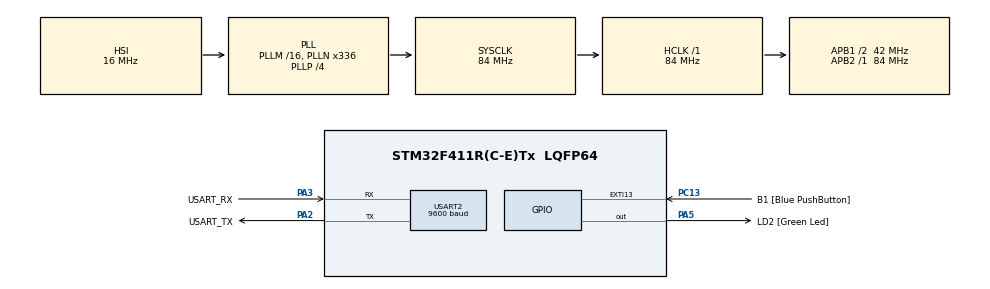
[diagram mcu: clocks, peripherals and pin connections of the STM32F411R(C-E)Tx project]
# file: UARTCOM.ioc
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Mcu.Family=STM32F4
Mcu.Name=STM32F411R(C-E)Tx
Mcu.Package=LQFP64
NVIC.PriorityGroup=NVIC_PRIORITYGROUP_0
NVIC.USART2_IRQn=true\:0\:0\:false\:false\:true\:true\:true\:true
PA13.GPIO_Label=TMS
PA13.Mode=Serial_Wire
PA13.Signal=SYS_JTMS-SWDIO
PA14.GPIO_Label=TCK
PA14.Mode=Serial_Wire
PA14.Signal=SYS_JTCK-SWCLK
PA2.GPIO_Label=USART_TX
PA2.Mode=Asynchronous
PA2.Signal=USART2_TX
PA3.GPIO_Label=USART_RX
PA3.Mode=Asynchronous
PA3.Signal=USART2_RX
PA5.GPIO_Label=LD2 [Green Led]
PA5.Signal=GPIO_Output
PB3.GPIO_Label=SWO
PB3.Signal=SYS_JTDO-SWO
PC13-ANTI_TAMP.GPIO_Label=B1 [Blue PushButton]
PC13-ANTI_TAMP.GPIO_ModeDefaultEXTI=GPIO_MODE_IT_FALLING
PC13-ANTI_TAMP.Signal=GPXTI13
PC14-OSC32_IN.Mode=LSE-External-Oscillator
PC14-OSC32_IN.Signal=RCC_OSC32_IN
PC15-OSC32_OUT.Mode=LSE-External-Oscillator
PC15-OSC32_OUT.Signal=RCC_OSC32_OUT
PH0\ -\ OSC_IN.Mode=HSE-External-Clock-Source
PH0\ -\ OSC_IN.Signal=RCC_OSC_IN
PH1\ -\ OSC_OUT.Mode=HSE-External-Clock-Source
PH1\ -\ OSC_OUT.Signal=RCC_OSC_OUT
ProjectManager.HeapSize=0x200
ProjectManager.StackSize=0x400
ProjectManager.TargetToolchain=STM32CubeIDE
RCC.48MHZClocksFreq_Value=84000000
RCC.AHBFreq_Value=84000000
RCC.APB1CLKDivider=RCC_HCLK_DIV2
RCC.APB1Freq_Value=42000000
RCC.APB1TimFreq_Value=84000000
RCC.APB2Freq_Value=84000000
RCC.APB2TimFreq_Value=84000000
RCC.CortexFreq_Value=84000000
RCC.FLatency-AdvancedSettings=FLASH_LATENCY_2
RCC.HCLKFreq_Value=84000000
RCC.HSE_VALUE=8000000
RCC.HSI_VALUE=16000000
RCC.PLLN=336
RCC.PLLP=RCC_PLLP_DIV4
RCC.SYSCLKFreq_VALUE=84000000
RCC.SYSCLKSource=RCC_SYSCLKSOURCE_PLLCLK
RCC.VCOOutputFreq_Value=336000000
USART2.BaudRate=9600
USART2.StopBits=STOPBITS_2
USART2.VirtualMode=VM_ASYNC
board=NUCLEO-F411RE

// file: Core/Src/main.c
/* USER CODE BEGIN Header */
/**
 ******************************************************************************
 * @file           : main.c
 * @brief          : Main program body
 ******************************************************************************
 * @attention
 *
 * Copyright (c) 2023 STMicroelectronics.
 * All rights reserved.
 *
 * This software is licensed under terms that can be found in the LICENSE file
 * in the root directory of this software component.
 * If no LICENSE file comes with this software, it is provided AS-IS.
 *
 ******************************************************************************
 */
/* USER CODE END Header */
#include "main.h"

/* USER CODE BEGIN Includes */
#include "stdio.h"
#include "string.h"
/* USER CODE END Includes */

UART_HandleTypeDef huart2;

/* USER CODE BEGIN PV */
uint8_t RxBuffer[2];
uint8_t TxBuffer[10];
uint8_t Power = 0;
uint8_t Button_State[2];
uint8_t number = 112;
uint16_t Hz = 1;
uint8_t LED_State = 1;
uint8_t textbox[100];
uint16_t Period;
/* USER CODE END PV */

void SystemClock_Config(void);
static void MX_GPIO_Init(void);
static void MX_USART2_UART_Init(void);
/* USER CODE BEGIN PFP */
void UIsend(uint8_t text[]);
void Function_Selector();
void LED_Hz();
void Button_State_Check();
/* USER CODE END PFP */

int main(void) {

	/* MCU Configuration--------------------------------------------------------*/

	/* Reset of all peripherals, Initializes the Flash interface and the Systick. */
	HAL_Init();

	/* Configure the system clock */
	SystemClock_Config();

	/* Initialize all configured peripherals */
	MX_GPIO_Init();
	MX_USART2_UART_Init();

	/* Infinite loop */
	/* USER CODE BEGIN WHILE */
	while (1) {
		UARTInterruptConfig();
		if (Power == 1) {
			Function_Selector();
		}

		LED_Hz(LED_State); //DEBUG LOGIC CH1 TX | RX CH0
		/* USER CODE END WHILE */

	}
}

void SystemClock_Config(void) {
	RCC_OscInitTypeDef RCC_OscInitStruct = { 0 };
	RCC_ClkInitTypeDef RCC_ClkInitStruct = { 0 };

	/** Configure the main internal regulator output voltage
	 */
	__HAL_RCC_PWR_CLK_ENABLE();
	__HAL_PWR_VOLTAGESCALING_CONFIG(PWR_REGULATOR_VOLTAGE_SCALE1);

	/** Initializes the RCC Oscillators according to the specified parameters
	 * in the RCC_OscInitTypeDef structure.
	 */
	RCC_OscInitStruct.OscillatorType = RCC_OSCILLATORTYPE_HSI;
	RCC_OscInitStruct.HSIState = RCC_HSI_ON;
	RCC_OscInitStruct.HSICalibrationValue = RCC_HSICALIBRATION_DEFAULT;
	RCC_OscInitStruct.PLL.PLLState = RCC_PLL_ON;
	RCC_OscInitStruct.PLL.PLLSource = RCC_PLLSOURCE_HSI;
	RCC_OscInitStruct.PLL.PLLM = 16;
	RCC_OscInitStruct.PLL.PLLN = 336;
	RCC_OscInitStruct.PLL.PLLP = RCC_PLLP_DIV4;
	RCC_OscInitStruct.PLL.PLLQ = 4;
	if (HAL_RCC_OscConfig(&RCC_OscInitStruct) != HAL_OK) {
		Error_Handler();
	}

	/** Initializes the CPU, AHB and APB buses clocks
	 */
	RCC_ClkInitStruct.ClockType = RCC_CLOCKTYPE_HCLK | RCC_CLOCKTYPE_SYSCLK
			| RCC_CLOCKTYPE_PCLK1 | RCC_CLOCKTYPE_PCLK2;
	RCC_ClkInitStruct.SYSCLKSource = RCC_SYSCLKSOURCE_PLLCLK;
	RCC_ClkInitStruct.AHBCLKDivider = RCC_SYSCLK_DIV1;
	RCC_ClkInitStruct.APB1CLKDivider = RCC_HCLK_DIV2;
	RCC_ClkInitStruct.APB2CLKDivider = RCC_HCLK_DIV1;

	if (HAL_RCC_ClockConfig(&RCC_ClkInitStruct, FLASH_LATENCY_2) != HAL_OK) {
		Error_Handler();
	}
}

static void MX_USART2_UART_Init(void) {

	huart2.Instance = USART2;
	huart2.Init.BaudRate = 9600;
	huart2.Init.WordLength = UART_WORDLENGTH_8B;
	huart2.Init.StopBits = UART_STOPBITS_2;
	huart2.Init.Parity = UART_PARITY_NONE;
	huart2.Init.Mode = UART_MODE_TX_RX;
	huart2.Init.HwFlowCtl = UART_HWCONTROL_NONE;
	huart2.Init.OverSampling = UART_OVERSAMPLING_16;
	if (HAL_UART_Init(&huart2) != HAL_OK) {
		Error_Handler();
	}

}

static void MX_GPIO_Init(void) {
	GPIO_InitTypeDef GPIO_InitStruct = { 0 };

	/* GPIO Ports Clock Enable */
	__HAL_RCC_GPIOC_CLK_ENABLE();
	__HAL_RCC_GPIOH_CLK_ENABLE();
	__HAL_RCC_GPIOA_CLK_ENABLE();
	__HAL_RCC_GPIOB_CLK_ENABLE();

	/*Configure GPIO pin Output Level */
	HAL_GPIO_WritePin(LD2_GPIO_Port, LD2_Pin, GPIO_PIN_RESET);

	/*Configure GPIO pin : B1_Pin */
	GPIO_InitStruct.Pin = B1_Pin;
	GPIO_InitStruct.Mode = GPIO_MODE_IT_FALLING;
	GPIO_InitStruct.Pull = GPIO_NOPULL;
	HAL_GPIO_Init(B1_GPIO_Port, &GPIO_InitStruct);

	/*Configure GPIO pin : LD2_Pin */
	GPIO_InitStruct.Pin = LD2_Pin;
	GPIO_InitStruct.Mode = GPIO_MODE_OUTPUT_PP;
	GPIO_InitStruct.Pull = GPIO_NOPULL;
	GPIO_InitStruct.Speed = GPIO_SPEED_FREQ_LOW;
	HAL_GPIO_Init(LD2_GPIO_Port, &GPIO_InitStruct);

}

/* USER CODE BEGIN 4 */
void UIsend(uint8_t text[100]) {
	// sprintf((char*)text,"-------------Welcome USer---------------- \r\n");
	HAL_UART_Transmit(&huart2, text, strlen((char*) text), 100);
}

void Function_Selector() {
	Power = 0;
	switch (number) { //menu selector
	case 112:
		UIsend("\r\nFunction Select\r\n***************************\r\n");
		UIsend("0 : LED Control\r\n");
		UIsend("1 : Button_State Status\r\n***************************\r\n");
		number = 113;
		break;
	case 113:
		if (RxBuffer[0] == 48) //ascii 0
				{
			UIsend("LED Control Mode\r\n*********************\r\n");
			UIsend("a : Speed Up +1Hz\r\n");
			UIsend("s : Speed Down -1Hz\r\n");
			UIsend("d : On/Off\r\n");
			UIsend("x : back\r\n");
			number = 0;
		} else if (RxBuffer[0] == 49) { //ascii 1
			UIsend("x : back\r\n");
			UIsend("Button_State Status Mode\r\n");
			Power = 1;
			number = 1;
		}
		break;

	case 0: //LED
		if (RxBuffer[0] == 97) { //a
			Hz++;
		}

		else if (RxBuffer[0] == 115 && Hz > 1) { //s
			Hz--;
		} else if (RxBuffer[0] == 100) { //d
			if ((LED_State + 1) == 1)
				LED_State = 1;
			else
				LED_State = 0;
		}

		else if (RxBuffer[0] == 120) { //x home
			Power = 1;
			number = 112;
		}

		if (LED_State) {
			sprintf((char*) textbox, "Hz : %d\r\n", Hz);
			UIsend("LED ON\r\n");
			UIsend(textbox);
		} else {
			UIsend("LED OFF\r\n");
		}

		break;
	case 1: //Button
		Power = 1;
		if (RxBuffer[0] == 120) //x
			number = 112;
		Button_State_Check();
		break;
	}
}

void LED_Hz( LED_State) {
	if (LED_State) {
		static uint32_t timestamp = 0;
		Period = (1000 / Hz) / 2;
		if (HAL_GetTick() >= timestamp) {
			timestamp = HAL_GetTick() + Period;
			HAL_GPIO_TogglePin(LD2_GPIO_Port, LD2_Pin);
		}
	} else
		HAL_GPIO_WritePin(LD2_GPIO_Port, LD2_Pin, 0);
}

void UARTInterruptConfig() {
	HAL_UART_Receive_IT(&huart2, RxBuffer, 1);
}
void HAL_UART_RxCpltCallback(UART_HandleTypeDef *huart) {
	if (huart == &huart2) {
		RxBuffer[1] = '\0';
		sprintf((char*) TxBuffer, "Received :  %s\r\n", RxBuffer);
		//HAL_UART_Transmit_IT(&huart2, TxBuffer, strlen((char*) TxBuffer));
		//HAL_UART_Receive_IT(&huart2, RxBuffer, 1);
		Power = 1;
	}
}

void Button_State_Check() {
	Button_State[0] = HAL_GPIO_ReadPin(B1_GPIO_Port, B1_Pin);
	if (Button_State[0] == 1 && Button_State[1] == 0)
		UIsend("unpressed\r\n");
	else if (Button_State[0] == 0 && Button_State[1] == 1)
		UIsend("pressed\r\n");
	Button_State[1] = Button_State[0];
}

/* USER CODE END 4 */

void Error_Handler(void) {
	__disable_irq();
	while (1) {
	}
}
